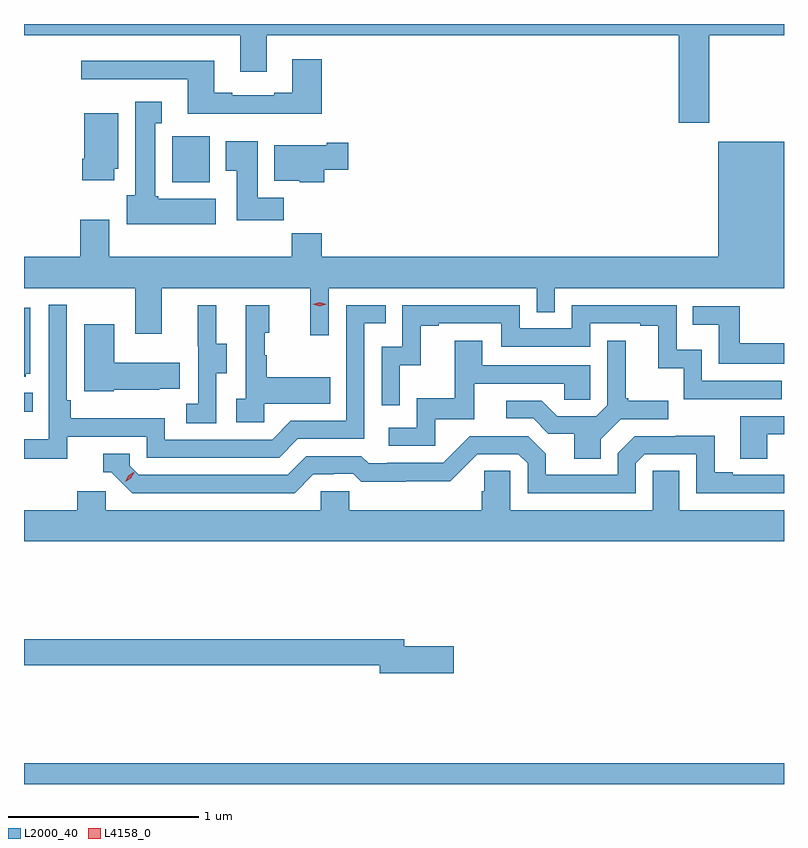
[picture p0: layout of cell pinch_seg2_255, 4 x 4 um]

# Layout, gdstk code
import gdstk
lib = gdstk.Library(unit=1e-6, precision=1e-09)
def R(c, l, rs):  # rectangles x0, y0, x1, y1
    for r in rs: c.add(gdstk.rectangle(r[:2], r[2:], *l))
def P(c, l, *ps):  # polygons
    for p in ps: c.add(gdstk.Polygon(p, *l))
L2000_40 = (2000, 40)
L4158_0 = (4158, 0)

pinch_seg2_255 = lib.new_cell('pinch_seg2_255')
R(pinch_seg2_255, L2000_40, [(896.738,662.342,900.738,662.452), (896.738,664.301,896.783,664.4), (897.518,665.51,897.715,665.752)])
P(pinch_seg2_255, L2000_40, [(900.345,666.284),(900.738,666.284),(900.738,666.342),(896.738,666.342),(896.738,666.284),(897.875,666.284),(897.875,666.09),(898.015,666.09),(898.015,666.284),(900.185,666.284),(900.185,665.823),(900.345,665.823)],
  [(898.304,666.157),(898.151,666.157),(898.151,665.98),(898.055,665.98),(898.055,665.967),(897.835,665.967),(897.835,665.98),(897.739,665.98),(897.739,666.148),(897.039,666.148),(897.039,666.051),(897.599,666.051),(897.599,665.87),(898.304,665.87)],
  [(897.748,665.422),(897.444,665.422),(897.444,665.436),(897.43,665.436),(897.43,665.819),(897.463,665.819),(897.463,665.932),(897.323,665.932),(897.323,665.442),(897.278,665.442),(897.278,665.288),(897.748,665.288)],
  [(897.214,665.58),(897.235,665.58),(897.235,665.872),(897.056,665.872),(897.056,665.632),(897.044,665.632),(897.044,665.52),(897.214,665.52)],
  [(898.106,665.428),(897.967,665.428),(897.967,665.725),(897.8,665.725),(897.8,665.569),(897.857,665.569),(897.857,665.31),(898.106,665.31)],
  [(898.341,664.952),(899.436,664.952),(899.436,664.825),(899.532,664.825),(899.532,664.952),(900.738,664.952),(900.738,665.722),(900.392,665.722),(900.392,665.116),(898.304,665.116),(898.304,665.24),(898.147,665.24),(898.147,665.116),(897.187,665.116),(897.187,665.311),(897.035,665.311),(897.035,665.116),(896.738,665.116),(896.738,664.952),(897.323,664.952),(897.323,664.713),(897.463,664.713),(897.463,664.952),(898.244,664.952),(898.244,664.704),(898.341,664.704)],
  [(898.319,665.575),(898.444,665.575),(898.444,665.717),(898.331,665.717),(898.331,665.704),(898.055,665.704),(898.055,665.516),(898.188,665.516),(898.188,665.51),(898.319,665.51)],
  [(896.966,664.17),(897.384,664.17),(897.384,664.059),(898.081,664.059),(898.18,664.158),(898.53,664.158),(898.53,664.767),(898.643,664.767),(898.643,664.863),(898.434,664.863),(898.434,664.254),(898.143,664.254),(898.044,664.155),(897.48,664.155),(897.48,664.267),(896.984,664.267),(896.984,664.363),(896.964,664.363),(896.964,664.864),(896.868,664.864),(896.868,664.156),(896.738,664.156),(896.738,664.054),(896.966,664.054)],
  [(898.716,664.547),(898.826,664.547),(898.826,664.755),(898.921,664.755),(898.921,664.767),(899.25,664.767),(899.25,664.644),(899.718,664.644),(899.718,664.767),(899.981,664.767),(899.981,664.755),(900.077,664.755),(900.077,664.529),(900.21,664.529),(900.21,664.368),(900.725,664.368),(900.725,664.464),(900.306,664.464),(900.306,664.627),(900.174,664.627),(900.174,664.863),(899.622,664.863),(899.622,664.74),(899.346,664.74),(899.346,664.863),(898.728,664.863),(898.728,664.644),(898.62,664.644),(898.62,664.335),(898.716,664.335)],
  [(898.002,664.343),(898.349,664.343),(898.349,664.483),(898.015,664.483),(898.015,664.598),(898.005,664.598),(898.005,664.716),(898.03,664.716),(898.03,664.861),(897.906,664.861),(897.906,664.37),(897.855,664.37),(897.855,664.245),(898.002,664.245)],
  [(897.75,664.504),(897.805,664.504),(897.805,664.659),(897.751,664.659),(897.751,664.861),(897.653,664.861),(897.653,664.647),(897.654,664.647),(897.654,664.343),(897.591,664.343),(897.591,664.24),(897.75,664.24)],
  [(900.738,664.663),(900.505,664.663),(900.505,664.857),(900.259,664.857),(900.259,664.76),(900.394,664.76),(900.394,664.554),(900.738,664.554)],
  [(896.748,664.5),(896.77,664.5),(896.77,664.849),(896.738,664.849),(896.738,664.485),(896.748,664.485)],
  [(897.21,664.418),(897.449,664.418),(897.449,664.421),(897.557,664.421),(897.557,664.558),(897.214,664.558),(897.214,664.762),(897.056,664.762),(897.056,664.409),(897.21,664.409)],
  [(898.902,664.263),(899.107,664.263),(899.107,664.449),(899.581,664.449),(899.581,664.365),(899.718,664.365),(899.718,664.545),(899.149,664.545),(899.149,664.675),(899.005,664.675),(899.005,664.372),(898.806,664.372),(898.806,664.218),(898.659,664.218),(898.659,664.122),(898.902,664.122)],
  [(899.773,664.156),(899.88,664.263),(900.13,664.263),(900.13,664.36),(899.917,664.36),(899.917,664.372),(899.905,664.372),(899.905,664.675),(899.808,664.675),(899.808,664.335),(899.751,664.278),(899.545,664.278),(899.464,664.359),(899.277,664.359),(899.277,664.266),(899.418,664.266),(899.498,664.186),(899.633,664.186),(899.633,664.054),(899.773,664.054)],
  [(900.649,664.182),(900.738,664.182),(900.738,664.278),(900.509,664.278),(900.509,664.054),(900.649,664.054)],
  [(898.261,663.972),(898.368,663.972),(898.368,663.975),(898.471,663.975),(898.513,663.933),(898.746,663.933),(898.746,663.935),(898.982,663.935),(899.124,664.077),(899.34,664.077),(899.388,664.029),(899.388,663.873),(899.958,663.873),(899.958,664.029),(900.006,664.077),(900.276,664.077),(900.276,663.873),(900.738,663.873),(900.738,663.969),(900.469,663.969),(900.469,663.982),(900.373,663.982),(900.373,664.175),(900.168,664.175),(900.168,664.173),(899.952,664.173),(899.862,664.083),(899.862,663.969),(899.485,663.969),(899.485,664.079),(899.391,664.173),(899.085,664.173),(898.944,664.032),(898.651,664.032),(898.651,664.029),(898.552,664.029),(898.513,664.068),(898.224,664.068),(898.125,663.969),(897.342,663.969),(897.294,664.017),(897.294,664.08),(897.155,664.08),(897.155,663.984),(897.198,663.984),(897.309,663.873),(898.162,663.873)],
  [(900.738,663.784),(900.187,663.784),(900.187,663.992),(900.048,663.992),(900.048,663.784),(899.298,663.784),(899.298,663.992),(899.161,663.992),(899.161,663.882),(899.147,663.882),(899.147,663.784),(898.449,663.784),(898.449,663.882),(898.299,663.882),(898.299,663.784),(897.168,663.784),(897.168,663.882),(897.017,663.882),(897.017,663.784),(896.738,663.784),(896.738,663.62),(900.738,663.62)],
  [(898.999,663.068),(898.738,663.068),(898.738,663.104),(896.738,663.104),(896.738,662.968),(898.61,662.968),(898.61,662.926),(898.999,662.926)])
P(pinch_seg2_255, L4158_0, [(898.294,664.857),(898.259,664.866),(898.259,664.867),(898.259,664.867),(898.294,664.877),(898.329,664.867),(898.329,664.867),(898.329,664.866)],
  [(897.27,663.932),(897.27,663.932),(897.286,663.965),(897.316,663.984),(897.317,663.984),(897.317,663.984),(897.301,663.951),(897.27,663.932)])

lib.write_gds('pinch_seg2_255.gds')
